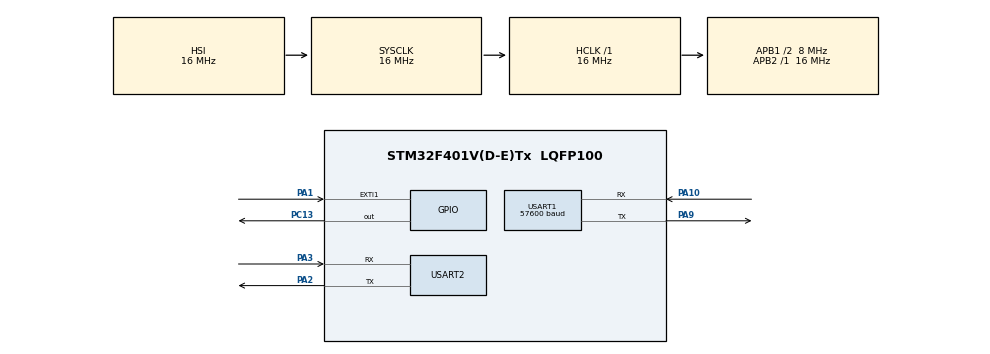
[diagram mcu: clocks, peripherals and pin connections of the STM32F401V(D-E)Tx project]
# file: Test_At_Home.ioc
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Dma.Request0=USART1_RX
Dma.Request1=USART1_TX
Dma.USART1_RX.0.Direction=DMA_PERIPH_TO_MEMORY
Dma.USART1_RX.0.FIFOMode=DMA_FIFOMODE_DISABLE
Dma.USART1_RX.0.Instance=DMA2_Stream2
Dma.USART1_RX.0.MemDataAlignment=DMA_MDATAALIGN_BYTE
Dma.USART1_RX.0.MemInc=DMA_MINC_ENABLE
Dma.USART1_RX.0.Mode=DMA_NORMAL
Dma.USART1_RX.0.PeriphDataAlignment=DMA_PDATAALIGN_BYTE
Dma.USART1_RX.0.PeriphInc=DMA_PINC_DISABLE
Dma.USART1_RX.0.Priority=DMA_PRIORITY_LOW
Dma.USART1_TX.1.Direction=DMA_MEMORY_TO_PERIPH
Dma.USART1_TX.1.FIFOMode=DMA_FIFOMODE_DISABLE
Dma.USART1_TX.1.Instance=DMA2_Stream7
Dma.USART1_TX.1.MemDataAlignment=DMA_MDATAALIGN_BYTE
Dma.USART1_TX.1.MemInc=DMA_MINC_ENABLE
Dma.USART1_TX.1.Mode=DMA_NORMAL
Dma.USART1_TX.1.PeriphDataAlignment=DMA_PDATAALIGN_BYTE
Dma.USART1_TX.1.PeriphInc=DMA_PINC_DISABLE
Dma.USART1_TX.1.Priority=DMA_PRIORITY_LOW
Mcu.Family=STM32F4
Mcu.Name=STM32F401V(D-E)Tx
Mcu.Package=LQFP100
NVIC.DMA2_Stream2_IRQn=true\:0\:0\:false\:false\:true\:false\:true\:true
NVIC.DMA2_Stream7_IRQn=true\:0\:0\:false\:false\:true\:false\:true\:true
NVIC.EXTI1_IRQn=true\:0\:0\:false\:false\:true\:true\:true\:true
NVIC.PriorityGroup=NVIC_PRIORITYGROUP_4
NVIC.USART1_IRQn=true\:0\:0\:false\:false\:true\:true\:true\:true
PA1.GPIO_ModeDefaultEXTI=GPIO_MODE_IT_FALLING
PA1.Signal=GPXTI1
PA10.Mode=Asynchronous
PA10.Signal=USART1_RX
PA13.Mode=Serial_Wire
PA13.Signal=SYS_JTMS-SWDIO
PA14.Mode=Serial_Wire
PA14.Signal=SYS_JTCK-SWCLK
PA2.Mode=Asynchronous
PA2.Signal=USART2_TX
PA3.Mode=Asynchronous
PA3.Signal=USART2_RX
PA9.Mode=Asynchronous
PA9.Signal=USART1_TX
PC13-ANTI_TAMP.Signal=GPIO_Output
ProjectManager.HeapSize=0x200
ProjectManager.StackSize=0x400
ProjectManager.TargetToolchain=STM32CubeIDE
RCC.48MHZClocksFreq_Value=20480000
RCC.AHBFreq_Value=16000000
RCC.APB1CLKDivider=RCC_HCLK_DIV2
RCC.APB1Freq_Value=8000000
RCC.APB1TimFreq_Value=16000000
RCC.APB2Freq_Value=16000000
RCC.APB2TimFreq_Value=16000000
RCC.CortexFreq_Value=16000000
RCC.HCLKFreq_Value=16000000
RCC.HSE_VALUE=25000000
RCC.HSI_VALUE=16000000
RCC.LSE_VALUE=32768
RCC.PLLM=25
RCC.PLLN=128
RCC.SYSCLKFreq_VALUE=16000000
RCC.VCOOutputFreq_Value=81920000
USART1.BaudRate=57600
USART1.VirtualMode=VM_ASYNC
USART2.VirtualMode=VM_ASYNC
board=custom

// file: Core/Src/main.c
/* USER CODE BEGIN Header */
/**
  ******************************************************************************
  * @file           : main.c
  * @brief          : Main program body
  ******************************************************************************
  * @attention
  *
  * <h2><center>&copy; Copyright (c) 2023 STMicroelectronics.
  * All rights reserved.</center></h2>
  *
  * This software component is licensed by ST under BSD 3-Clause license,
  * the "License"; You may not use this file except in compliance with the
  * License. You may obtain a copy of the License at:
  *                        opensource.org/licenses/BSD-3-Clause
  *
  ******************************************************************************
  */
/* USER CODE END Header */
#include "main.h"

/* USER CODE BEGIN Includes */
#include "bootloader.h"
#include "cbuffer.h"
#include "flash.h"
#include "read_hex_file.h"

#include <command_uart_bootloader.h>
#include <stdint.h>
#include <string.h>
/* USER CODE END Includes */

/* USER CODE BEGIN PD */
/* The above code is defining several constants for different buffer sizes. These constants are used to
specify the size of different buffers used in a C program. */
#define RXBUF_SIZE 8
#define MAINBUF_SIZE 400
#define HANDLEBUF_SIZE 50
#define READBUF_SIZE 1
#define COMMAND_FRAME_SIZE 17

/* The above code is defining three constants: APP_INDICATED_ADDRESS, APP_CURRENT_ADDRESS, and
APP_UPDATE_ADDRESS. These constants represent memory addresses in a C program. */
#define APP_INDICATED_ADDRESS 0x08008000
#define APP_CURRENT_ADDRESS 0x08020000
#define APP_UPDATE_ADDRESS 0x08040000

/* The above code is defining a constant named "SIZE_OF_APP_UPDATE" with a value of 128 * 1024. */
#define SIZE_OF_APP_UPDATE 128 * 1024

/* The above code is defining a constant named "TIME_TO_JUMP_APP_CURRENT" with a value of 3000. */
#define TIME_TO_JUMP_APP_CURRENT 3000
/* USER CODE END PD */

UART_HandleTypeDef huart1;
UART_HandleTypeDef huart2;
DMA_HandleTypeDef hdma_usart1_rx;
DMA_HandleTypeDef hdma_usart1_tx;

/* USER CODE BEGIN PV */
/* The above code is declaring several arrays of type uint8_t and char. These arrays are used for
storing data in a C program. The purpose and usage of these arrays are not clear from the provided
code snippet. */
uint8_t rxbuf[RXBUF_SIZE];
uint8_t mainbuf[MAINBUF_SIZE];
uint8_t read_buffer[READBUF_SIZE];
uint8_t command_buffer[COMMAND_FRAME_SIZE];
char handle_buffer[HANDLEBUF_SIZE];

/* The above code is declaring two character arrays, `ack` and `nack`, each containing a single
character. The character array `ack` is initialized with the character '0', while the character
array `nack` is initialized with the character '1'. */
char ack[1] = "0";
char nack[1] = "1";

uint16_t oldpos = 0;
uint8_t status_command = 0;
uint8_t status_command_handler = 0;
uint8_t flag_cmd = 0;
uint16_t pos_cmd = 0;
uint8_t read_flash_app_update[128] = { 0 };
uint8_t check_fw_app_current[1] = { 0 };
uint8_t check_fw_app_update[1] = { 0 };
uint32_t count_read_app_update;
uint16_t app_indicate = 0;
uint32_t time_jump_start = 0;
uint8_t time_jump_state = 0;

/* Inintial circular buffer from cbuffer */
cbuffer_t cb;

/* Get value of flag in read_hex_file if file hex is wrote done */
extern uint8_t g_flag_write_hex_done;

/**
 * @brief above type defines an enumeration for different status commands.
 *
 */
typedef enum
{
  WAIT_COMMAND,
  WRITE_HEX_COMMAND
} status_command_t;

/**
 * @brief The above type defines an enumeration for indicating the status of a firmware update.
 *
 */
typedef enum
{
  UPDATE_FIRMWARE,
  CURRENT_FIRMWARE = 0xFF
} app_indicate_status_t;

/**
 * @brief The above type defines an enumeration for the status of time to jump.
 *
 */
typedef enum
{
  OLD_FIRMWARE,
  WAIT_NEW_FIRMWARE
} time_to_jump_status_t;

/* The above code is defining a function pointer structure named "handle". This structure contains
pointers to various functions such as HAL_Delay, HAL_UART_Transmit_DMA, ConvertStringtoHex,
Flash_Erase, Flash_Read_Array, and bootloader_jump_address. These function pointers can be used to
call the respective functions in the code. */
function_pointer_t handle = { .ptr_delay = HAL_Delay,
                              .ptr_hal_uart_transmit = HAL_UART_Transmit_DMA,
                              .ptr_convert_string_to_hex = convert_string_to_hex,
                              .ptr_erase_flash = flash_erase,
                              .ptr_read_array = flash_read_array,
                              .ptr_bootloader_jump_to_address = bootloader_jump_address };
/* USER CODE END PV */

void SystemClock_Config(void);
static void MX_GPIO_Init(void);
static void MX_DMA_Init(void);
static void MX_USART1_UART_Init(void);
static void MX_USART2_UART_Init(void);

/* USER CODE BEGIN 0 */
/**
 * The function HAL_UARTEx_RxEventCallback is a callback function that is called when a receive event
 * occurs on USART1, and it handles the received data by storing it in a circular buffer and resetting
 * the receive buffer.
 *
 * @param huart A pointer to the UART handle structure. It contains information about the UART
 * peripheral being used, such as the base address of the UART registers and the configuration
 * settings.
 * @param Size The parameter "Size" in the function "HAL_UARTEx_RxEventCallback" represents the number
 * of bytes received by the UART peripheral. It indicates the size of the data buffer that has been
 * filled with received data.
 */
//void HAL_UARTEx_RxEventCallback(UART_HandleTypeDef *huart, uint16_t Size)
//{
//  if (huart->Instance == USART1)
//  {
//    /* start the DMA again */
//    /* Write rxbuf to the mainbuf */
//    cb_write(&cb, rxbuf, Size);
//    /* Clear the rxbuf */
//    for (uint8_t i = 0U; i < Size; i++)
//    {
//      rxbuf[i] = '\0';
//    }
//    /* Check the status command */
//    (status_command == WAIT_COMMAND) ? (flag_cmd = 1) : (flag_cmd = 0);
//    HAL_UARTEx_ReceiveToIdle_DMA(&huart1, (uint8_t *) rxbuf, RXBUF_SIZE);
//    __HAL_DMA_DISABLE_IT(&hdma_usart1_rx, DMA_IT_HT);
//  }
//}
/* USER CODE END 0 */

int main(void)
{

  /* MCU Configuration--------------------------------------------------------*/

  /* Reset of all peripherals, Initializes the Flash interface and the Systick. */
  HAL_Init();

  /* Configure the system clock */
  SystemClock_Config();

  /* Initialize all configured peripherals */
  MX_GPIO_Init();
  MX_DMA_Init();
  MX_USART1_UART_Init();
  MX_USART2_UART_Init();
  /* USER CODE BEGIN 2 */
  /* Initial circular buffer */
//    cb_init(&cb, mainbuf, MAINBUF_SIZE);
//    /* Turn on LED on Board (PA5) */
  app_indicate = (uint8_t) flash_read_int(APP_INDICATED_ADDRESS);
    if (app_indicate == UPDATE_FIRMWARE)
    {
      NVIC_SystemReset();
    }
    HAL_GPIO_WritePin(GPIOC, GPIO_PIN_13, GPIO_PIN_SET);
//    /* Read app indicate from Flash */
//    app_indicate = (uint8_t) flash_read_int(APP_INDICATED_ADDRESS);
//    /* If App Update have new Firmware, Erase Firmware in App Current */
//    if (app_indicate == UPDATE_FIRMWARE)
//    {
//      flash_erase(APP_CURRENT_ADDRESS, 1);
//    }
//    HAL_UARTEx_ReceiveToIdle_DMA(&huart1, rxbuf, RXBUF_SIZE);
//    __HAL_DMA_DISABLE_IT(&hdma_usart1_rx, DMA_IT_HT);
//    /* Get the time start Bootloader FW */
//    time_jump_start = HAL_GetTick();
  /* USER CODE END 2 */

  /* Infinite loop */
  while (1)
  {

    /* USER CODE BEGIN 3 */
	  /* Time from the start of the program */
//	      if ((HAL_GetTick() - time_jump_start) >= TIME_TO_JUMP_APP_CURRENT)
//	      {
//	        if (time_jump_state == OLD_FIRMWARE)
//	        {
//	          /* Read value in start address of two app */
//	          flash_read_array(APP_CURRENT_ADDRESS, check_fw_app_current, 1);
//	          flash_read_array(APP_UPDATE_ADDRESS, check_fw_app_update, 1);
//	          (check_fw_app_current[0] != 0xFF) ? bootloader_jump_address(APP_CURRENT_ADDRESS)
//	                                            : (time_jump_start = HAL_GetTick());
//	        }
//	      }
//	      /* Update New FW get from App Update */
//	      if (app_indicate == UPDATE_FIRMWARE)
//	      {
//	        time_jump_state = WAIT_NEW_FIRMWARE;
//	        /* Read data from App Update and Write to App Current */
//	        flash_read_array(APP_UPDATE_ADDRESS + count_read_app_update, read_flash_app_update, 128);
//	        flash_write_array(APP_CURRENT_ADDRESS + count_read_app_update, read_flash_app_update, 128);
//	        count_read_app_update += 128;
//	        /* Clear the buffer read_flash_app_update */
//	        for (uint8_t i = 0U; i < 128; i++)
//	        {
//	          read_flash_app_update[i] = 0xFF;
//	        }
//	        /* Write full sector */
//	        if (count_read_app_update >= SIZE_OF_APP_UPDATE)
//	        {
//	          /* Erase App Indicate and App Update */
//	          flash_erase(APP_INDICATED_ADDRESS, 1);
//	          flash_erase(APP_UPDATE_ADDRESS, 1);
//	          /* Jump to App Current */
//	          bootloader_jump_address(APP_CURRENT_ADDRESS);
//	        }
//	      }
//	      /* No Firmware to Update */
//	      else if (app_indicate == CURRENT_FIRMWARE)
//	      {
//	        /* Check the write pointer and read pointer */
//	        if (cb_check_read_wrire_ptr(&cb) == 0)
//	        {
//	          /* read from mainbuf and assign into read_buffer */
//	          cb_read(&cb, read_buffer, 1);
//	          /* Wait Command */
//	          if (status_command == WAIT_COMMAND)
//	          {
//	            if (flag_cmd == 1)
//	            {
//	              /* Write read_buffer into command_buffer */
//	              command_buffer[pos_cmd] = read_buffer[0];
//	              pos_cmd++;
//	              /* Frame of Command is 17 */
//	              if (pos_cmd == COMMAND_FRAME_SIZE)
//	              {
//	                pos_cmd = 0;
//	                /* Handle Command and assign to status_command_handler*/
//	                status_command_handler = command_handler(&handle, (char *) command_buffer, COMMAND_FRAME_SIZE);
//	                /* Write command */
//	                if (status_command_handler == WRITE_COMMAND)
//	                {
//	                  status_command = WRITE_HEX_COMMAND;
//	                  time_jump_state = WAIT_NEW_FIRMWARE;
//	                }
//	                /* Command fail */
//	                else if (status_command_handler == COMMAND_FAIL)
//	                {
//	                  HAL_UART_Transmit_DMA(&huart1, (uint8_t *) "Run command fail", 16);
//	                }
//	                /* Other Command like: Read, Erase, Jump */
//	                else
//	                {
//	                  time_jump_start = HAL_GetTick();
//	                  time_jump_state = OLD_FIRMWARE;
//	                }
//	              }
//	            }
//	          }
//	          /* Write command */
//	          else
//	          {
//	            /* Check the last one line of hex file */
//	            if (read_buffer[0] != '\n' && read_buffer[0] != '\r')
//	            {
//	              /* assign read_buffer to handle_buffer */
//	              handle_buffer[oldpos] = read_buffer[0];
//	              oldpos++;
//	            }
//	            /* Check the last one line of hex file */
//	            if (read_buffer[0] == '\n')
//	            {
//	              /* Hanlde Hex File and return ack */
//	              if (read_all_line(handle_buffer, oldpos) == READ_SUCCESSFULLY)
//	              {
//	                HAL_UART_Transmit_DMA(&huart1, (uint8_t *) ack, 1);
//	                /* Get g_flag_write_hex_done from read_hex_file to get event write flag to App Indicate */
//	                if (g_flag_write_hex_done == 1)
//	                {
//	                  /* Write flag to App Indicate */
//	                  flash_write_int(APP_INDICATED_ADDRESS, UPDATE_FIRMWARE);
//	                  status_command = WAIT_COMMAND;
//	                  g_flag_write_hex_done = 0;
//	                  time_jump_state = OLD_FIRMWARE;
//	                  time_jump_start = HAL_GetTick();
//	                }
//	              }
//	              /* If Read Fail return nack */
//	              else
//	              {
//	                HAL_UART_Transmit_DMA(&huart1, (uint8_t *) nack, 1);
//	              }
//	              /* Clear the handle buffer */
//	              for (uint8_t i = 0U; i < HANDLEBUF_SIZE; i++)
//	              {
//	                handle_buffer[i] = '\0';
//	              }
//	              /* Reset index to 0 */
//	              oldpos = 0;
//	            }
//	          }
//	        }
//	      }
	  HAL_GPIO_WritePin(GPIOC, GPIO_PIN_13, GPIO_PIN_RESET);
	  for (uint64_t i=0; i<1000000;i++){}
//	  HAL_Delay(1000);
	  HAL_GPIO_WritePin(GPIOC, GPIO_PIN_13, GPIO_PIN_SET);
//	  HAL_Delay(1000);
	  for (uint64_t i=0; i<1000000;i++){}
//	  	bootloader_jump_address(APP_CURRENT_ADDRESS);
	    }
  /* USER CODE END 3 */
}

void SystemClock_Config(void)
{
  RCC_OscInitTypeDef RCC_OscInitStruct = {0};
  RCC_ClkInitTypeDef RCC_ClkInitStruct = {0};

  /** Configure the main internal regulator output voltage
  */
  __HAL_RCC_PWR_CLK_ENABLE();
  __HAL_PWR_VOLTAGESCALING_CONFIG(PWR_REGULATOR_VOLTAGE_SCALE2);

  /** Initializes the RCC Oscillators according to the specified parameters
  * in the RCC_OscInitTypeDef structure.
  */
  RCC_OscInitStruct.OscillatorType = RCC_OSCILLATORTYPE_HSI;
  RCC_OscInitStruct.HSIState = RCC_HSI_ON;
  RCC_OscInitStruct.HSICalibrationValue = RCC_HSICALIBRATION_DEFAULT;
  RCC_OscInitStruct.PLL.PLLState = RCC_PLL_NONE;
  if (HAL_RCC_OscConfig(&RCC_OscInitStruct) != HAL_OK)
  {
    Error_Handler();
  }

  /** Initializes the CPU, AHB and APB buses clocks
  */
  RCC_ClkInitStruct.ClockType = RCC_CLOCKTYPE_HCLK|RCC_CLOCKTYPE_SYSCLK
                              |RCC_CLOCKTYPE_PCLK1|RCC_CLOCKTYPE_PCLK2;
  RCC_ClkInitStruct.SYSCLKSource = RCC_SYSCLKSOURCE_HSI;
  RCC_ClkInitStruct.AHBCLKDivider = RCC_SYSCLK_DIV1;
  RCC_ClkInitStruct.APB1CLKDivider = RCC_HCLK_DIV2;
  RCC_ClkInitStruct.APB2CLKDivider = RCC_HCLK_DIV1;

  if (HAL_RCC_ClockConfig(&RCC_ClkInitStruct, FLASH_LATENCY_0) != HAL_OK)
  {
    Error_Handler();
  }
}

static void MX_USART1_UART_Init(void)
{

  huart1.Instance = USART1;
  huart1.Init.BaudRate = 57600;
  huart1.Init.WordLength = UART_WORDLENGTH_8B;
  huart1.Init.StopBits = UART_STOPBITS_1;
  huart1.Init.Parity = UART_PARITY_NONE;
  huart1.Init.Mode = UART_MODE_TX_RX;
  huart1.Init.HwFlowCtl = UART_HWCONTROL_NONE;
  huart1.Init.OverSampling = UART_OVERSAMPLING_16;
  if (HAL_UART_Init(&huart1) != HAL_OK)
  {
    Error_Handler();
  }

}

static void MX_USART2_UART_Init(void)
{

  huart2.Instance = USART2;
  huart2.Init.BaudRate = 115200;
  huart2.Init.WordLength = UART_WORDLENGTH_8B;
  huart2.Init.StopBits = UART_STOPBITS_1;
  huart2.Init.Parity = UART_PARITY_NONE;
  huart2.Init.Mode = UART_MODE_TX_RX;
  huart2.Init.HwFlowCtl = UART_HWCONTROL_NONE;
  huart2.Init.OverSampling = UART_OVERSAMPLING_16;
  if (HAL_UART_Init(&huart2) != HAL_OK)
  {
    Error_Handler();
  }

}

static void MX_DMA_Init(void)
{

  /* DMA controller clock enable */
  __HAL_RCC_DMA2_CLK_ENABLE();

  /* DMA interrupt init */
  /* DMA2_Stream2_IRQn interrupt configuration */
  HAL_NVIC_SetPriority(DMA2_Stream2_IRQn, 0, 0);
  HAL_NVIC_EnableIRQ(DMA2_Stream2_IRQn);
  /* DMA2_Stream7_IRQn interrupt configuration */
  HAL_NVIC_SetPriority(DMA2_Stream7_IRQn, 0, 0);
  HAL_NVIC_EnableIRQ(DMA2_Stream7_IRQn);

}

static void MX_GPIO_Init(void)
{
  GPIO_InitTypeDef GPIO_InitStruct = {0};

  /* GPIO Ports Clock Enable */
  __HAL_RCC_GPIOC_CLK_ENABLE();
  __HAL_RCC_GPIOA_CLK_ENABLE();

  /*Configure GPIO pin Output Level */
  HAL_GPIO_WritePin(GPIOC, GPIO_PIN_13, GPIO_PIN_RESET);

  /*Configure GPIO pin : PC13 */
  GPIO_InitStruct.Pin = GPIO_PIN_13;
  GPIO_InitStruct.Mode = GPIO_MODE_OUTPUT_PP;
  GPIO_InitStruct.Pull = GPIO_NOPULL;
  GPIO_InitStruct.Speed = GPIO_SPEED_FREQ_LOW;
  HAL_GPIO_Init(GPIOC, &GPIO_InitStruct);

  /*Configure GPIO pin : PA1 */
  GPIO_InitStruct.Pin = GPIO_PIN_1;
  GPIO_InitStruct.Mode = GPIO_MODE_IT_FALLING;
  GPIO_InitStruct.Pull = GPIO_NOPULL;
  HAL_GPIO_Init(GPIOA, &GPIO_InitStruct);

  /* EXTI interrupt init*/
  HAL_NVIC_SetPriority(EXTI1_IRQn, 0, 0);
  HAL_NVIC_EnableIRQ(EXTI1_IRQn);

}

void Error_Handler(void)
{
  __disable_irq();
  while (1)
  {
  }
}
